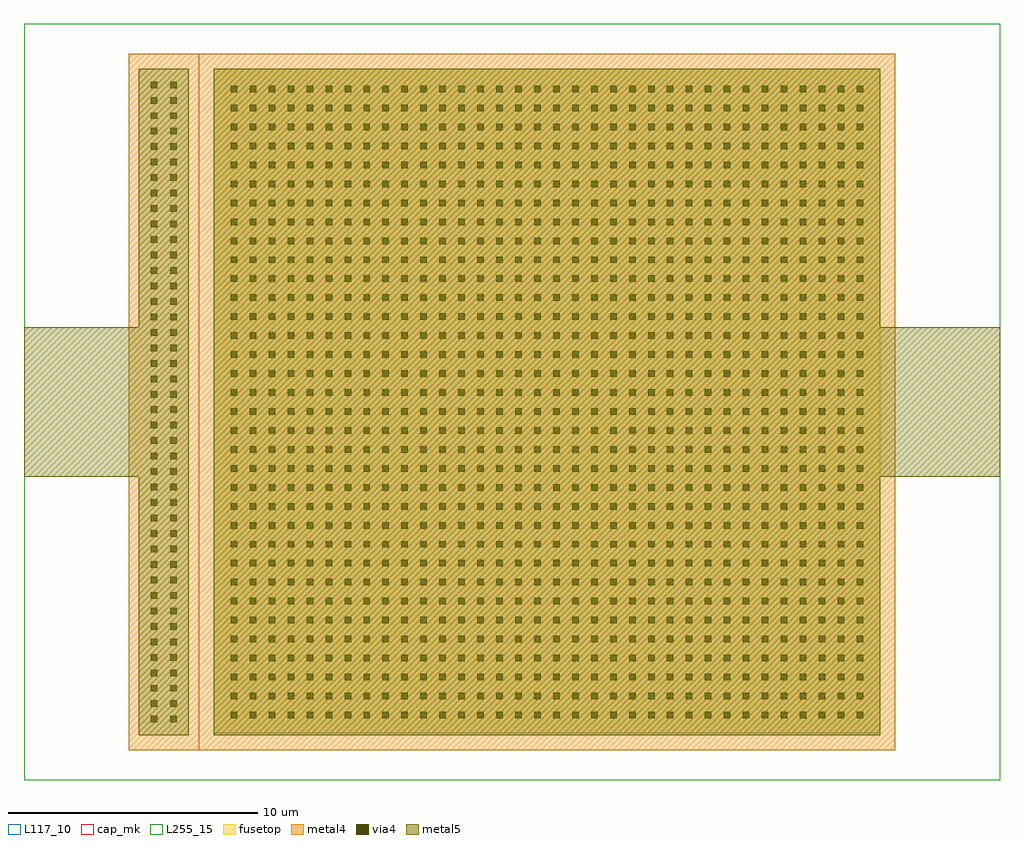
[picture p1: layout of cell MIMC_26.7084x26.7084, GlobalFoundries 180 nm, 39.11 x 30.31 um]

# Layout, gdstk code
import gdstk
lib = gdstk.Library(unit=1e-6, precision=1e-09)
def R(c, l, rs):  # rectangles x0, y0, x1, y1
    for r in rs: c.add(gdstk.rectangle(r[:2], r[2:], *l))
def A(c, l, x, y, w, h, nx, ny, dx, dy):  # array of equal rectangles
    R(c, l, [(x+i*dx, y+j*dy, x+i*dx+w, y+j*dy+h) for i in range(nx) for j in range(ny)])
via4 = (41, 0)
metal4 = (46, 0)
fusetop = (75, 0)
metal5 = (81, 0)
cap_mk = (117, 5)
L117_10 = (117, 10)
L255_15 = (255, 15)

mimc_26_7084x26_7084 = lib.new_cell('MIMC_26.7084x26.7084')
A(mimc_26_7084x26_7084, via4, -2.53, 0.514, 0.26, 0.26, 1, 42, 0, 0.62)
A(mimc_26_7084x26_7084, via4, -1.73, 0.514, 0.26, 0.26, 1, 42, 0, 0.62)
A(mimc_26_7084x26_7084, via4, 0.684, 0.684, 0.26, 0.26, 34, 34, 0.76, 0.76)
R(mimc_26_7084x26_7084, metal4, [(-3.4,-0.6,0,27.308), (-0.6,-0.6,27.308,27.308)])
R(mimc_26_7084x26_7084, fusetop, [(0,0,26.708,26.708)])
R(mimc_26_7084x26_7084, metal5, [(-3,0,-1,26.708), (0,0,26.708,26.708), (-7.6,10.354,-3,16.354), (25.708,10.354,31.508,16.354)])
R(mimc_26_7084x26_7084, cap_mk, [(-0.6,-0.6,27.308,27.308)])
R(mimc_26_7084x26_7084, L117_10, [(0,0,26.708,0.1)])
R(mimc_26_7084x26_7084, L255_15, [(-7.6,-1.8,31.508,28.508)])

lib.write_gds('MIMC_26.7084x26.7084.gds')
